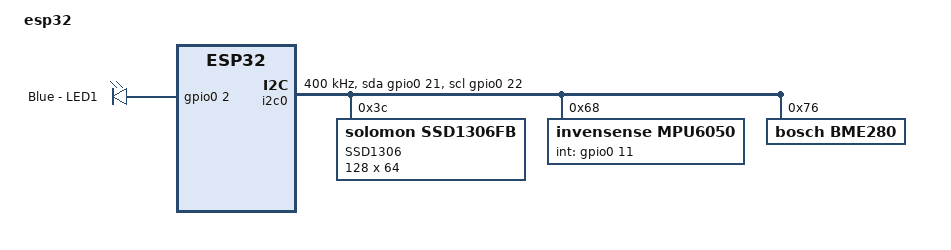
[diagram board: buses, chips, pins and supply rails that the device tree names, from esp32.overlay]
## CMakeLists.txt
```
cmake_minimum_required (VERSION 3.22)
set(BOARD esp32)

find_package(Zephyr)
project(App)

target_sources(app PRIVATE 
  src/main.c
  src/DisplayThread.c
  src/SensorThread.c
  src/ShellCallbacks.c
  src/BTHome.c
  include/DisplayThread.h
  include/SensorThread.h
  include/BTHome.h
  )

target_include_directories(app PRIVATE include)
```

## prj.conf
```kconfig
CONFIG_PRINTK=y
CONFIG_CBPRINTF_FP_SUPPORT=y
CONFIG_SHELL=y
CONFIG_SHELL_MINIMAL=y
CONFIG_SHELL_STACK_SIZE=4096
CONFIG_SHELL_BACKEND_SERIAL=y
CONFIG_SHELL_TAB=y
CONFIG_SHELL_TAB_AUTOCOMPLETION=y
CONFIG_SHELL_CMDS=y
CONFIG_SHELL_HISTORY=y
CONFIG_SHELL_HISTORY_BUFFER=512
CONFIG_MAIN_STACK_SIZE=2048
CONFIG_HEAP_MEM_POOL_SIZE=1024

CONFIG_BT=y
CONFIG_BT_PERIPHERAL=y
CONFIG_BT_DEVICE_NAME="BTHome template"

CONFIG_I2C=y
CONFIG_DISPLAY=y
CONFIG_DISPLAY_LOG_LEVEL_ERR=y

CONFIG_SSD1306=y
CONFIG_SSD1306_DEFAULT=y
CONFIG_SENSOR=y
CONFIG_MPU6050_TRIGGER_NONE=y

CONFIG_LVGL=y
CONFIG_APP_LINK_WITH_LVGL=y
CONFIG_LV_MEM_SIZE_KILOBYTES=8
CONFIG_LV_MEM_CUSTOM=n
CONFIG_LV_USE_LOG=y
CONFIG_LV_USE_LABEL=y
CONFIG_LV_USE_BTN=y
CONFIG_LV_USE_IMG=y
CONFIG_LV_COLOR_DEPTH_1=y
CONFIG_LV_CONF_MINIMAL=y
CONFIG_LV_FONT_MONTSERRAT_8=y
CONFIG_LV_COLOR_16_SWAP=y
CONFIG_LV_USE_THEME_DEFAULT=y
CONFIG_LV_Z_VDB_SIZE=64
CONFIG_EVENTS=y
```

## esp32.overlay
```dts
/*
 * Copyright (c) 2023 Espressif Systems (Shanghai) Co., Ltd.
 *
 * SPDX-License-Identifier: Apache-2.0
 */

 / {
	model = "esp32";
	compatible = "espressif,esp32";

	aliases {
		i2c-0 = &i2c0;
		led0 = &led0;
	};

	chosen {
		zephyr,sram = &sram0;
		zephyr,console = &uart0;
		zephyr,shell-uart = &uart0;
		zephyr,flash = &flash0;
		zephyr,display = &ssd1306;
		
	};

	leds {
		compatible = "gpio-leds";
		led0: led_0 {
			gpios =  <&gpio0 2 GPIO_ACTIVE_HIGH>;
			label = "Blue - LED1";
		};
	};
};

&i2c0 {
	status = "okay";
	clock-frequency = <I2C_BITRATE_FAST>;
	sda-gpios = <&gpio0 21 (GPIO_OPEN_DRAIN  )>;
	scl-gpios = <&gpio0 22 (GPIO_OPEN_DRAIN  )>;
	pinctrl-0 = <&i2c0_default>;
	pinctrl-names = "default";
	ssd1306: ssd1306@3c {
		compatible = "solomon,ssd1306fb";
		reg = < 0x3c >;
		label = "SSD1306";
		width = < 128 >;
		height = < 64 >;
		segment-offset = < 0x0 >;
		page-offset = < 0x0 >;
		display-offset = < 0x0 >;
		multiplex-ratio = < 0x3f >;
		prechargep = < 0x22 >;
	};
	mpu6050@68 {
	compatible = "invensense,mpu6050";
	reg = <0x68>;
	status = "okay";
	int-gpios = <&gpio0 11 GPIO_ACTIVE_HIGH>;
	};	
	bme280: bme280@76 {
		compatible = "bosch,bme280";
		reg = <0x76>;
	};
};
```

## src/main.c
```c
/**
 * @file main.c
 * @author Guilherme Freire (freireg1503@gmail.com)
 * @brief 
 * @version 0.1
 * @date 2022-08-22
 * 
 * @copyright Copyright (c) 2022
 * 
 */

#include "DisplayThread.h"
#include "SensorThread.h"
#include "BTHome.h"

#define STACK_SIZE 	2048 
#define PRIORITY		0



K_THREAD_DEFINE(
	AccelHandler, STACK_SIZE,
	AccelThread, NULL, NULL, NULL,
	PRIORITY, 0, 0);

K_THREAD_DEFINE(
	DisplayHandler, STACK_SIZE,
	DisplayThread, NULL, NULL, NULL,
	PRIORITY, 0, 0);

K_THREAD_DEFINE(
	TempHandler, STACK_SIZE,
	TempThread, NULL, NULL, NULL,
	PRIORITY, 0, 0
);
K_THREAD_DEFINE(
	BTHomeHandler, STACK_SIZE,
	BTHomeThread, NULL, NULL, NULL,
	PRIORITY, 0, 0
);
```

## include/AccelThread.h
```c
/**
 * @file AccelThread.h
 * @author Guilherme Freire (guilherme.freire@fieb.org.br)
 * @brief 
 * @version 0.1
 * @date 2023-06-01
 * 
 * @copyright Copyright (c) 2023
 * 
 */
#ifndef _ACCEL_THREAD_H_
#define _ACCEL_THREAD_H_

#include <zephyr/kernel.h>
#include <zephyr/device.h>
#include <zephyr/drivers/gpio.h>
#include <zephyr/drivers/sensor.h>
#include <zephyr/shell/shell.h>
#include <stdio.h>
#include <string.h>

void AccelThread(void *p1, void *p2, void *p3);

#endif
```

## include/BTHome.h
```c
#ifndef _BT_THREAD_H_
#define _BT_THREAD_H_

#include <zephyr/bluetooth/bluetooth.h>
#include <zephyr/bluetooth/uuid.h>
#include <zephyr/device.h>
#include <zephyr/drivers/sensor.h>
#include <zephyr/devicetree.h>
#include <stddef.h>

void BTHomeThread(void *p1, void *p2, void *p3);

#endif
```

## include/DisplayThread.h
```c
/**
 * @file DisplayThread.h
 * @author Guilherme Freire (guilherme.freire@fieb.org.br)
 * @brief 
 * @version 0.1
 * @date 2023-06-01
 * 
 * @copyright Copyright (c) 2023
 * 
 */

#ifndef _DISPLAY_THREAD_H_
#define _DISPLAY_THREAD_H_

#include <zephyr/kernel.h>
#include <zephyr/device.h>
#include <zephyr/drivers/display.h>
#include <zephyr/drivers/gpio.h>
#include <zephyr/shell/shell.h>
#include <lvgl.h>
#include <stdio.h>
#include <string.h>

void DisplayThread(void *p1, void *p2, void *p3);

#endif
```

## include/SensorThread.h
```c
/**
 * @file AccelThread.h
 * @author Guilherme Freire (guilherme.freire@fieb.org.br)
 * @brief 
 * @version 0.1
 * @date 2023-06-01
 * 
 * @copyright Copyright (c) 2023
 * 
 */
#ifndef _SENSOR_THREAD_H_
#define _SENSOR_THREAD_H_

#include <zephyr/kernel.h>
#include <zephyr/device.h>
#include <zephyr/drivers/gpio.h>
#include <zephyr/drivers/sensor.h>
#include <zephyr/shell/shell.h>
#include <stdio.h>
#include <string.h>


#define TEMP_READINGS 3
#define ACCEL_READINGS 7


void AccelThread(void *p1, void *p2, void *p3);

void TempThread(void *p1, void *p2, void *p3);

#endif
```

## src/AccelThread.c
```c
/**
 * @file AccelThread.c
 * @author Guilherme Freire (guilherme.freire@fieb.org.br)
 * @brief 
 * @version 0.1
 * @date 2023-06-01
 * 
 * @copyright Copyright (c) 2023
 * 
 */
#include "AccelThread.h"

K_MSGQ_DEFINE(accel_queue, 7*sizeof(double), 5, 2);
K_EVENT_DEFINE(kEvent);

const struct device *const mpu6050 = DEVICE_DT_GET_ONE(invensense_mpu6050);
static int process_mpu6050(const struct device *dev);

void AccelThread(void *p1, void *p2, void *p3)
{
  if (!device_is_ready(mpu6050)) {
    printk("Device %s is not ready\n", mpu6050->name);
    return 0;
	}
	while(1)
	{	
		process_mpu6050(mpu6050);
    k_msleep(10);
	}
}

static int process_mpu6050(const struct device *dev)
{
	struct sensor_value temperature;
	struct sensor_value accel[3];
	struct sensor_value gyro[3];
	double buffer[7];
	int rc = sensor_sample_fetch(dev);

	if (rc == 0) {
		rc = sensor_channel_get(dev, SENSOR_CHAN_ACCEL_XYZ,
					accel);
	}
	if (rc == 0) {
		rc = sensor_channel_get(dev, SENSOR_CHAN_GYRO_XYZ,
					gyro);
	}
	if (rc == 0) {
		rc = sensor_channel_get(dev, SENSOR_CHAN_AMBIENT_TEMP,
					&temperature);
	}
	if (rc == 0) {
		// printf("  temp %f C\n"
		// 			 "  accel %f %f %f m/s/s\n"
		//        "  gyro  %f %f %f rad/s\n",
		//        sensor_value_to_double(&temperature),
		//        sensor_value_to_double(&accel[0]),
		//        sensor_value_to_double(&accel[1]),
		//        sensor_value_to_double(&accel[2]),
		//        sensor_value_to_double(&gyro[0]),
		//        sensor_value_to_double(&gyro[1]),
		//        sensor_value_to_double(&gyro[2]));
	} else {
		printf("sample fetch/get failed: %d\n", rc);
	}
	buffer[0] = sensor_value_to_double(&temperature);
	buffer[1] = sensor_value_to_double(&accel[0]);
	buffer[2] = sensor_value_to_double(&accel[1]);
	buffer[3] = sensor_value_to_double(&accel[2]);
	buffer[4] = sensor_value_to_double(&gyro[0]);
	buffer[5] = sensor_value_to_double(&gyro[1]);
	buffer[6] = sensor_value_to_double(&gyro[2]);
	k_msgq_put(&accel_queue, buffer, K_NO_WAIT);

	return 0;
}

/* Functions */
static int cmd_get_accel_read(const struct shell *sh, size_t argc, char **argv)
{
	k_event_post(&kEvent, 0x001);
  // process_mpu6050(mpu6050);
	
	return 0;
}


/* Shell Commands */
SHELL_CMD_REGISTER(stdal, NULL, "Stand Alone Command", &cmd_get_accel_read);


/*  */
```

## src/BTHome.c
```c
/*
 * Copyright (c) 2023 Nordic Semiconductor ASA
 *
 * SPDX-License-Identifier: Apache-2.0
 */

#include "BTHome.h"

#define SERVICE_DATA_LEN        9
#define SERVICE_UUID            0xfcd2      /* BTHome service UUID */
#define IDX_TEMPL               4           /* Index of lo byte of temp in service data*/
#define IDX_TEMPH               5           /* Index of hi byte of temp in service data*/
#define IDX_HUML								7
#define IDX_HUMH								8

#define ADV_PARAM BT_LE_ADV_PARAM(BT_LE_ADV_OPT_USE_IDENTITY, \
				  BT_GAP_ADV_SLOW_INT_MIN, \
				  BT_GAP_ADV_SLOW_INT_MAX, NULL)


extern struct k_msgq sensor_temp_queue;

static uint8_t service_data[SERVICE_DATA_LEN] = {
	BT_UUID_16_ENCODE(SERVICE_UUID),
	0x40,
	0x02,	/* Temperature */
	0xc4,	/* Low byte */
	0x00,   /* High byte */
	0x03,	/* Humidity */
	0xbf,	/* 50.55%  low byte*/
	0x13,   /* 50.55%  high byte*/
};

static struct bt_data ad[] = {
	BT_DATA_BYTES(BT_DATA_FLAGS, BT_LE_AD_GENERAL | BT_LE_AD_NO_BREDR),
	BT_DATA(BT_DATA_NAME_COMPLETE, CONFIG_BT_DEVICE_NAME, sizeof(CONFIG_BT_DEVICE_NAME) - 1),
	BT_DATA(BT_DATA_SVC_DATA16, service_data, ARRAY_SIZE(service_data))
};

static void bt_ready(int err)
{
	if (err) {
		printk("Bluetooth init failed (err %d)\n", err);
		return;
	}

	// printk("Bluetooth initialized\n");

	/* Start advertising */
	err = bt_le_adv_start(ADV_PARAM, ad, ARRAY_SIZE(ad), NULL, 0);
	if (err) {
		printk("Advertising failed to start (err %d)\n", err);
		return;
	}
}

void BTHomeThread(void *p1, void *p2, void *p3)
{
	int err;
	int sendTemp, sendHum;
	struct sensor_value tempBuffer[3];

	// printk("Starting BTHome sensor template\n");

	/* Initialize the Bluetooth Subsystem */
	err = bt_enable(bt_ready);
	if (err) {
		printk("Bluetooth init failed (err %d)\n", err);
		return 0;
	}

	while(1) {
		k_msgq_get(&sensor_temp_queue, &tempBuffer, K_MSEC(5));
		
		// printk("Sensor readings >> temp: %d.%06d; press: %d.%06d; humidity: %d.%06d\n",
		// 		tempBuffer[0].val1, tempBuffer[0].val2,tempBuffer[2].val1, tempBuffer[2].val2);


		service_data[IDX_TEMPH] = (tempBuffer[0].val1 * 100) >> 8;
		service_data[IDX_TEMPL] = (tempBuffer[0].val2 * 100) & 0xff;
		service_data[IDX_HUMH] = (tempBuffer[2].val1 * 100) >> 8;
		service_data[IDX_HUML] = (tempBuffer[2].val2 * 100) & 0xff;

		// printk("Converted values >> temp: %d.%d; humidity: %d.%d\n",
		// service_data[IDX_TEMPH], service_data[IDX_TEMPL], service_data[IDX_HUMH], service_data[IDX_HUML]);

		err = bt_le_adv_update_data(ad, ARRAY_SIZE(ad), NULL, 0);
		if (err) {
			printk("Failed to update advertising data (err %d)\n", err);
		}
		k_sleep(K_MSEC(300));
	}
}
```

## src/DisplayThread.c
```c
/**
 * @file DisplayThread.c
 * @author Guilherme Freire (guilherme.freire@fieb.org.br)
 * @brief 
 * @version 0.1
 * @date 2023-06-01
 * 
 * @copyright Copyright (c) 2023
 * 
 */

#include "DisplayThread.h"

#define LED0_NODE DT_ALIAS(led0)

extern struct k_msgq accel_queue;
extern struct k_msgq temp_queue;
extern struct k_event kEvent;

const struct device *display_dev = DEVICE_DT_GET(DT_CHOSEN(zephyr_display));
static const struct gpio_dt_spec led = GPIO_DT_SPEC_GET(LED0_NODE, gpios);
uint8_t displayState = 0;

void DisplayThread(void *p1, void *p2, void *p3)
{
  /* Initialization of the Thread */
  static lv_style_t style;
  lv_obj_t *readings_label;
	uint32_t events = 0;
	double accelBuffer[7];
	double tempBuffer[3];
	char buff[100];

	if (!device_is_ready(display_dev)) {
		printf("Device %s is not ready\n", display_dev->name);
		return;
	}

	if (!device_is_ready(led.port)) {
		printf("Device %s is not ready\n", display_dev->name);
		return;
	}

	if (!gpio_pin_configure_dt(&led, GPIO_OUTPUT)) {
			printk("Error: failed to configure LED device %s pin %d\n",
			     	led.port->name, led.pin);
		} else{
			gpio_pin_set_dt(&led, 0);
		}
	

	lv_style_init(&style);
	lv_style_set_bg_color(&style, lv_color_black());
	lv_style_set_text_color(&style, lv_color_white());
	lv_style_set_text_decor(&style, LV_TEXT_DECOR_NONE);
	
	lv_obj_add_style(lv_scr_act(), &style, 0);
	
	readings_label = lv_label_create(lv_scr_act());
	lv_obj_add_style(readings_label, &style, 0);
	lv_label_set_text(readings_label, "Running Zephyr!");
	lv_obj_align(readings_label, LV_ALIGN_TOP_MID, 0, 0);

	lv_task_handler();
  
  while(1)
  {	
		k_msgq_get(&accel_queue, &accelBuffer, K_MSEC(5));
		k_msgq_get(&temp_queue, &tempBuffer, K_MSEC(5));
		memset(buff, 0, sizeof(buff));
		
		switch (displayState)
		{
		case 0:
			sprintf(buff, "Temp: %.1f C\n\n"
										"Pres: %.1fPa\nHumi: %.1f%\n\nTemperature",
										tempBuffer[0], tempBuffer[1], tempBuffer[2]);

			break;
		case 1:
			sprintf(buff, "Temp: %.1f C\n\n"
										"AX: %.1f m/s/s\nAY: %.1f m/s/s\nAZ: %.1f m/s/s\n\nAccelerometer",
										accelBuffer[0], accelBuffer[1], accelBuffer[2], accelBuffer[3]);
			break;
		case 2:
			sprintf(buff, "Temp: %.1f C\n\n"
										"GX: %.1f m/s/s\nGY: %.1f m/s/s\nGZ: %.1f m/s/s\n\nGyroscope",
										accelBuffer[0], accelBuffer[4], accelBuffer[5], accelBuffer[6]);
			break;
		case 3:
			/* code */
			break;
			
		default:
			break;
		}
		lv_label_set_text(readings_label, buff);

		lv_task_handler();
		k_msleep(50);
  }
}

static int changeView(const struct shell *sh, size_t argc, char **argv, void *data)
{
	int val = (intptr_t)data;

	switch (val)
	{
	case 0:
		displayState = 0;
		shell_print(sh, "Changed to temperature view!");
		break;
	case 1:
		displayState = 1;
		shell_print(sh, "Changed to acceleration view!");
		break;
	case 2:
		displayState = 2;	
		shell_print(sh, "Changed to rotation view!");
		break;
	default:
			shell_print(sh, "Wrong arg");
		break;
	}

	return 0;
}

static int toggleLed(const struct shell *sh, size_t argc, char **argv)
{
	
	gpio_pin_toggle_dt(&led);
	return 0;
}

//Creating a subcommand dictionary
SHELL_SUBCMD_DICT_SET_CREATE(sub_change_view, changeView,
	(temp, 0, "Temperature readings"), (accel, 1, "Acceleration readings"),
	(gyro, 2, "Rotation readings"), (value_3, 3, "value 3")
);

SHELL_CMD_REGISTER(display, &sub_change_view, "Change display view", NULL);
SHELL_CMD_REGISTER(toggle, NULL, "Toggle the board LED", &toggleLed);
```

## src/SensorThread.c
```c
/**
 * @file AccelThread.c
 * @author Guilherme Freire (guilherme.freire@fieb.org.br)
 * @brief 
 * @version 0.1
 * @date 2023-06-01
 * 
 * @copyright Copyright (c) 2023
 * 
 */
#include "SensorThread.h"

K_MSGQ_DEFINE(accel_queue, ACCEL_READINGS*sizeof(double), 5, 2);
K_MSGQ_DEFINE(temp_queue, TEMP_READINGS*sizeof(double), 5, 2);
K_MSGQ_DEFINE(sensor_temp_queue, TEMP_READINGS*sizeof(struct sensor_value), 5, 2);
K_EVENT_DEFINE(kEvent);

const struct device *const mpu6050 = DEVICE_DT_GET_ONE(invensense_mpu6050);
const struct device *const bme280 = DEVICE_DT_GET_ANY(bosch_bme280);


static int process_mpu6050(const struct device *dev);

void AccelThread(void *p1, void *p2, void *p3)
{
  if (!device_is_ready(mpu6050)) {
    printk("Device %s is not ready\n", mpu6050->name);
    return 0;
	}
	while(1)
	{	
		process_mpu6050(mpu6050);
    k_msleep(10);
	}
}

void TempThread(void *p1, void *p2, void *p3)
{
	struct sensor_value temp, press, humidity, sensorBuff[TEMP_READINGS];
	double qBuffer[TEMP_READINGS];
	/* Initialization of the Thread */
	if (!device_is_ready(bme280)) {
		printk("\nError: Device \"%s\" is not ready; "
		       "check the driver initialization logs for errors.\n",
		       bme280->name);
		return NULL;
	}
	while(1)
	{
		sensor_sample_fetch(bme280);
		sensor_channel_get(bme280, SENSOR_CHAN_AMBIENT_TEMP, &temp);
		sensor_channel_get(bme280, SENSOR_CHAN_PRESS, &press);
		sensor_channel_get(bme280, SENSOR_CHAN_HUMIDITY, &humidity);

		sensorBuff[0] = temp;
		sensorBuff[1] = press;
		sensorBuff[2] = humidity;

		qBuffer[0] = sensor_value_to_double(&temp);
		qBuffer[1] = sensor_value_to_double(&press);
		qBuffer[2] = sensor_value_to_double(&humidity);

		k_msgq_put(&temp_queue, qBuffer, K_NO_WAIT);
		k_msgq_put(&sensor_temp_queue, sensorBuff, K_NO_WAIT);

		k_msleep(10);
	}
}

static int process_mpu6050(const struct device *dev)
{
	struct sensor_value temperature;
	struct sensor_value accel[3];
	struct sensor_value gyro[3];
	double buffer[ACCEL_READINGS];
	int rc = sensor_sample_fetch(dev);

	if (rc == 0) {
		rc = sensor_channel_get(dev, SENSOR_CHAN_ACCEL_XYZ,
					accel);
	}
	if (rc == 0) {
		rc = sensor_channel_get(dev, SENSOR_CHAN_GYRO_XYZ,
					gyro);
	}
	if (rc == 0) {
		rc = sensor_channel_get(dev, SENSOR_CHAN_AMBIENT_TEMP,
					&temperature);
	}
	if (rc == 0) {
		// printf("  temp %f C\n"
		// 			 "  accel %f %f %f m/s/s\n"
		//        "  gyro  %f %f %f rad/s\n",
		//        sensor_value_to_double(&temperature),
		//        sensor_value_to_double(&accel[0]),
		//        sensor_value_to_double(&accel[1]),
		//        sensor_value_to_double(&accel[2]),
		//        sensor_value_to_double(&gyro[0]),
		//        sensor_value_to_double(&gyro[1]),
		//        sensor_value_to_double(&gyro[2]));
	} else {
		printf("sample fetch/get failed: %d\n", rc);
	}
	buffer[0] = sensor_value_to_double(&temperature);
	buffer[1] = sensor_value_to_double(&accel[0]);
	buffer[2] = sensor_value_to_double(&accel[1]);
	buffer[3] = sensor_value_to_double(&accel[2]);
	buffer[4] = sensor_value_to_double(&gyro[0]);
	buffer[5] = sensor_value_to_double(&gyro[1]);
	buffer[6] = sensor_value_to_double(&gyro[2]);
	k_msgq_put(&accel_queue, buffer, K_NO_WAIT);

	return 0;
}

/* Functions */
static int cmd_get_accel_read(const struct shell *sh, size_t argc, char **argv)
{
	k_event_post(&kEvent, 0x001);
  // process_mpu6050(mpu6050);
	
	return 0;
}


/* Shell Commands */
SHELL_CMD_REGISTER(stdal, NULL, "Stand Alone Command", &cmd_get_accel_read);


/*  */
```

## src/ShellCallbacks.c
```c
/**
 * @file ShellCallbacks.c
 * @author Guilherme Freire (guilherme.freire@fieb.org.br)
 * @brief 
 * @version 0.1
 * @date 2023-07-12
 * 
 * @copyright Copyright (c) 2023
 * 
 */

#include <zephyr/kernel.h>
#include <zephyr/device.h>
#include <zephyr/drivers/gpio.h>
#include <zephyr/shell/shell.h>


/* Functions */
static int cmd_get_current_thread(const struct shell *sh, size_t argc, char **argv)
{
	k_tid_t running;
	// char buff[10] = {0};
	running = k_current_get();
	shell_print(sh, "Current thread running: %d",running);
	return 0;
}


/* Shell Commands */
SHELL_STATIC_SUBCMD_SET_CREATE(sub_Thread,
	SHELL_CMD(test, NULL, "Print", &cmd_get_current_thread)
);
SHELL_CMD_REGISTER(thread, NULL, "Thread commands", &cmd_get_current_thread);
```
